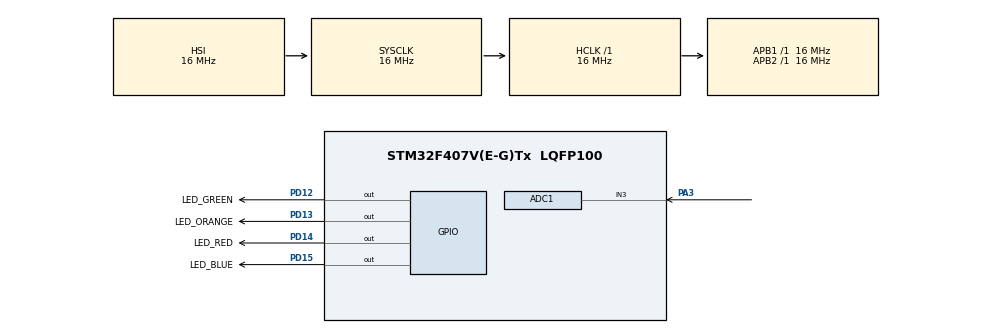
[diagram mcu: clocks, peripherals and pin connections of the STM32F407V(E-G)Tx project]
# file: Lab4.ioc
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ADC1.Channel-0\#ChannelRegularConversion=ADC_CHANNEL_3
ADC1.ClockPrescaler=ADC_CLOCK_SYNC_PCLK_DIV8
ADC1.NbrOfConversionFlag=1
ADC1.Rank-0\#ChannelRegularConversion=1
ADC1.SamplingTime-0\#ChannelRegularConversion=ADC_SAMPLETIME_480CYCLES
ADC1.master=1
Mcu.Family=STM32F4
Mcu.Name=STM32F407V(E-G)Tx
Mcu.Package=LQFP100
NVIC.ADC_IRQn=true\:0\:0\:false\:false\:true\:true\:true\:true
NVIC.PriorityGroup=NVIC_PRIORITYGROUP_4
PA3.Signal=ADCx_IN3
PD12.GPIO_Label=LED_GREEN
PD12.Signal=GPIO_Output
PD13.GPIO_Label=LED_ORANGE
PD13.Signal=GPIO_Output
PD14.GPIO_Label=LED_RED
PD14.Signal=GPIO_Output
PD15.GPIO_Label=LED_BLUE
PD15.Signal=GPIO_Output
ProjectManager.HeapSize=0x200
ProjectManager.StackSize=0x400
ProjectManager.TargetToolchain=STM32CubeIDE
RCC.AHBFreq_Value=16000000
RCC.APB1Freq_Value=16000000
RCC.APB2Freq_Value=16000000
RCC.CortexFreq_Value=16000000
RCC.HSE_VALUE=25000000
RCC.HSI_VALUE=16000000
RCC.LSE_VALUE=32768
RCC.SYSCLKFreq_VALUE=16000000
RCC.VCOOutputFreq_Value=192000000
SH.ADCx_IN3.0=ADC1_IN3,IN3
board=custom

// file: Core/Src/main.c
/* USER CODE BEGIN Header */
/**
  ******************************************************************************
  * @file           : main.c
  * @brief          : Main program body
  ******************************************************************************
  * @attention
  *
  * Copyright (c) 2023 STMicroelectronics.
  * All rights reserved.
  *
  * This software is licensed under terms that can be found in the LICENSE file
  * in the root directory of this software component.
  * If no LICENSE file comes with this software, it is provided AS-IS.
  *
  ******************************************************************************
  */
/* USER CODE END Header */
#include "main.h"

ADC_HandleTypeDef hadc1;

void SystemClock_Config(void);
static void MX_GPIO_Init(void);
static void MX_ADC1_Init(void);
/* USER CODE BEGIN PFP */
void HAL_ADC_ConvCpltCallback(ADC_HandleTypeDef* hadc){
	uint32_t adcValue;
	unsigned int debounceValue = 20;

	if(hadc->Instance == ADC1){
		adcValue =  HAL_ADC_GetValue(&hadc1);

		if(adcValue < ((4096/5)*1) - debounceValue/2){
			HAL_GPIO_WritePin(LED_GREEN_GPIO_Port, LED_GREEN_Pin, GPIO_PIN_RESET);
			HAL_GPIO_WritePin(LED_ORANGE_GPIO_Port, LED_ORANGE_Pin, GPIO_PIN_RESET);
			HAL_GPIO_WritePin(LED_RED_GPIO_Port, LED_RED_Pin, GPIO_PIN_RESET);
			HAL_GPIO_WritePin(LED_BLUE_GPIO_Port, LED_BLUE_Pin, GPIO_PIN_RESET);
		}
		else if(adcValue > ((4096/5)*1) + debounceValue/2 && adcValue < (4096/5)*2 - debounceValue/2){
			HAL_GPIO_WritePin(LED_GREEN_GPIO_Port, LED_GREEN_Pin, GPIO_PIN_SET);
			HAL_GPIO_WritePin(LED_ORANGE_GPIO_Port, LED_ORANGE_Pin, GPIO_PIN_RESET);
			HAL_GPIO_WritePin(LED_RED_GPIO_Port, LED_RED_Pin, GPIO_PIN_RESET);
			HAL_GPIO_WritePin(LED_BLUE_GPIO_Port, LED_BLUE_Pin, GPIO_PIN_RESET);
		}
		else if(adcValue > ((4096/5)*2) + debounceValue/2 && adcValue < (4096/5)*3 - debounceValue/2){
			HAL_GPIO_WritePin(LED_GREEN_GPIO_Port, LED_GREEN_Pin, GPIO_PIN_SET);
			HAL_GPIO_WritePin(LED_ORANGE_GPIO_Port, LED_ORANGE_Pin, GPIO_PIN_SET);
			HAL_GPIO_WritePin(LED_RED_GPIO_Port, LED_RED_Pin, GPIO_PIN_RESET);
			HAL_GPIO_WritePin(LED_BLUE_GPIO_Port, LED_BLUE_Pin, GPIO_PIN_RESET);
		}
		else if(adcValue > ((4096/5)*3) + debounceValue/2 && adcValue < (4096/5)*4 - debounceValue/2){
			HAL_GPIO_WritePin(LED_GREEN_GPIO_Port, LED_GREEN_Pin, GPIO_PIN_SET);
			HAL_GPIO_WritePin(LED_ORANGE_GPIO_Port, LED_ORANGE_Pin, GPIO_PIN_SET);
			HAL_GPIO_WritePin(LED_RED_GPIO_Port, LED_RED_Pin, GPIO_PIN_SET);
			HAL_GPIO_WritePin(LED_BLUE_GPIO_Port, LED_BLUE_Pin, GPIO_PIN_RESET);
		}
		else if(adcValue > ((4096/5)*4) + debounceValue/2 && adcValue < (4096/5)*5){
			HAL_GPIO_WritePin(LED_GREEN_GPIO_Port, LED_GREEN_Pin, GPIO_PIN_SET);
			HAL_GPIO_WritePin(LED_ORANGE_GPIO_Port, LED_ORANGE_Pin, GPIO_PIN_SET);
			HAL_GPIO_WritePin(LED_RED_GPIO_Port, LED_RED_Pin, GPIO_PIN_RESET);
			HAL_GPIO_WritePin(LED_BLUE_GPIO_Port, LED_BLUE_Pin, GPIO_PIN_SET);
		}

		HAL_ADC_Start_IT(&hadc1);

	}
}
/* USER CODE END PFP */

int main(void)
{

  /* MCU Configuration--------------------------------------------------------*/

  /* Reset of all peripherals, Initializes the Flash interface and the Systick. */
  HAL_Init();

  /* Configure the system clock */
  SystemClock_Config();

  /* Initialize all configured peripherals */
  MX_GPIO_Init();
  MX_ADC1_Init();
  /* USER CODE BEGIN 2 */

  HAL_ADC_Start_IT(&hadc1);

  /* USER CODE END 2 */

  /* Infinite loop */
  while (1)
  {

  }
}

void SystemClock_Config(void)
{
  RCC_OscInitTypeDef RCC_OscInitStruct = {0};
  RCC_ClkInitTypeDef RCC_ClkInitStruct = {0};

  /** Configure the main internal regulator output voltage
  */
  __HAL_RCC_PWR_CLK_ENABLE();
  __HAL_PWR_VOLTAGESCALING_CONFIG(PWR_REGULATOR_VOLTAGE_SCALE1);

  /** Initializes the RCC Oscillators according to the specified parameters
  * in the RCC_OscInitTypeDef structure.
  */
  RCC_OscInitStruct.OscillatorType = RCC_OSCILLATORTYPE_HSI;
  RCC_OscInitStruct.HSIState = RCC_HSI_ON;
  RCC_OscInitStruct.HSICalibrationValue = RCC_HSICALIBRATION_DEFAULT;
  RCC_OscInitStruct.PLL.PLLState = RCC_PLL_NONE;
  if (HAL_RCC_OscConfig(&RCC_OscInitStruct) != HAL_OK)
  {
    Error_Handler();
  }

  /** Initializes the CPU, AHB and APB buses clocks
  */
  RCC_ClkInitStruct.ClockType = RCC_CLOCKTYPE_HCLK|RCC_CLOCKTYPE_SYSCLK
                              |RCC_CLOCKTYPE_PCLK1|RCC_CLOCKTYPE_PCLK2;
  RCC_ClkInitStruct.SYSCLKSource = RCC_SYSCLKSOURCE_HSI;
  RCC_ClkInitStruct.AHBCLKDivider = RCC_SYSCLK_DIV1;
  RCC_ClkInitStruct.APB1CLKDivider = RCC_HCLK_DIV1;
  RCC_ClkInitStruct.APB2CLKDivider = RCC_HCLK_DIV1;

  if (HAL_RCC_ClockConfig(&RCC_ClkInitStruct, FLASH_LATENCY_0) != HAL_OK)
  {
    Error_Handler();
  }
}

static void MX_ADC1_Init(void)
{

  ADC_ChannelConfTypeDef sConfig = {0};

  /** Configure the global features of the ADC (Clock, Resolution, Data Alignment and number of conversion)
  */
  hadc1.Instance = ADC1;
  hadc1.Init.ClockPrescaler = ADC_CLOCK_SYNC_PCLK_DIV8;
  hadc1.Init.Resolution = ADC_RESOLUTION_12B;
  hadc1.Init.ScanConvMode = DISABLE;
  hadc1.Init.ContinuousConvMode = DISABLE;
  hadc1.Init.DiscontinuousConvMode = DISABLE;
  hadc1.Init.ExternalTrigConvEdge = ADC_EXTERNALTRIGCONVEDGE_NONE;
  hadc1.Init.ExternalTrigConv = ADC_SOFTWARE_START;
  hadc1.Init.DataAlign = ADC_DATAALIGN_RIGHT;
  hadc1.Init.NbrOfConversion = 1;
  hadc1.Init.DMAContinuousRequests = DISABLE;
  hadc1.Init.EOCSelection = ADC_EOC_SINGLE_CONV;
  if (HAL_ADC_Init(&hadc1) != HAL_OK)
  {
    Error_Handler();
  }

  /** Configure for the selected ADC regular channel its corresponding rank in the sequencer and its sample time.
  */
  sConfig.Channel = ADC_CHANNEL_3;
  sConfig.Rank = 1;
  sConfig.SamplingTime = ADC_SAMPLETIME_480CYCLES;
  if (HAL_ADC_ConfigChannel(&hadc1, &sConfig) != HAL_OK)
  {
    Error_Handler();
  }

}

static void MX_GPIO_Init(void)
{
  GPIO_InitTypeDef GPIO_InitStruct = {0};

  /* GPIO Ports Clock Enable */
  __HAL_RCC_GPIOA_CLK_ENABLE();
  __HAL_RCC_GPIOD_CLK_ENABLE();

  /*Configure GPIO pin Output Level */
  HAL_GPIO_WritePin(GPIOD, LED_GREEN_Pin|LED_ORANGE_Pin|LED_RED_Pin|LED_BLUE_Pin, GPIO_PIN_RESET);

  /*Configure GPIO pins : LED_GREEN_Pin LED_ORANGE_Pin LED_RED_Pin LED_BLUE_Pin */
  GPIO_InitStruct.Pin = LED_GREEN_Pin|LED_ORANGE_Pin|LED_RED_Pin|LED_BLUE_Pin;
  GPIO_InitStruct.Mode = GPIO_MODE_OUTPUT_PP;
  GPIO_InitStruct.Pull = GPIO_NOPULL;
  GPIO_InitStruct.Speed = GPIO_SPEED_FREQ_LOW;
  HAL_GPIO_Init(GPIOD, &GPIO_InitStruct);

}

void Error_Handler(void)
{
  __disable_irq();
  while (1)
  {
  }
}
